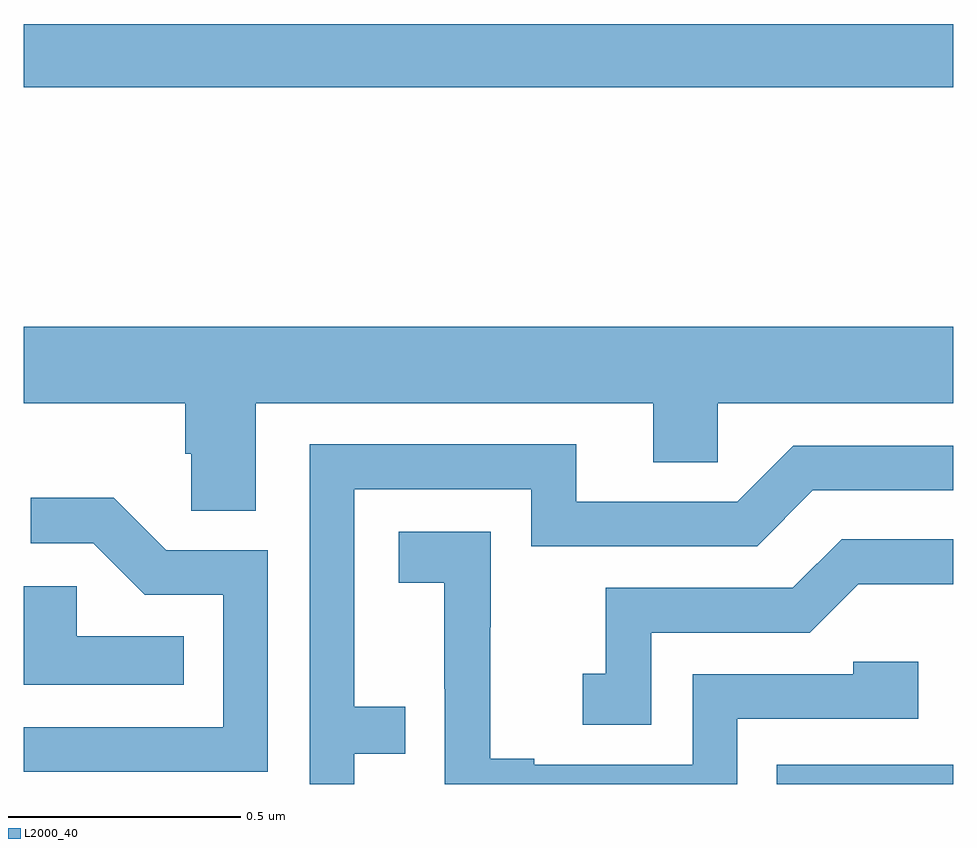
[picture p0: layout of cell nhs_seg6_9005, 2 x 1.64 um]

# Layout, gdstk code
import gdstk
lib = gdstk.Library(unit=1e-6, precision=1e-09)
def R(c, l, rs):  # rectangles x0, y0, x1, y1
    for r in rs: c.add(gdstk.rectangle(r[:2], r[2:], *l))
def P(c, l, *ps):  # polygons
    for p in ps: c.add(gdstk.Polygon(p, *l))
L2000_40 = (2000, 40)

nhs_seg6_9005 = lib.new_cell('nhs_seg6_9005')
R(nhs_seg6_9005, L2000_40, [(229.621,962.5,230,962.541), (228,964,230,964.136)])
P(nhs_seg6_9005, L2000_40, [(228.499,963.32),(229.355,963.32),(229.355,963.193),(229.494,963.193),(229.494,963.32),(230,963.32),(230,963.484),(228,963.484),(228,963.32),(228.347,963.32),(228.347,963.211),(228.36,963.211),(228.36,963.088),(228.499,963.088)],
  [(228.711,962.565),(228.821,962.565),(228.821,962.666),(228.711,962.666),(228.711,963.135),(229.092,963.135),(229.092,963.012),(229.578,963.012),(229.698,963.132),(230,963.132),(230,963.228),(229.656,963.228),(229.536,963.108),(229.189,963.108),(229.189,963.231),(228.615,963.231),(228.615,962.5),(228.711,962.5)],
  [(228.525,963.003),(228.306,963.003),(228.193,963.116),(228.015,963.116),(228.015,963.018),(228.149,963.018),(228.26,962.907),(228.429,962.907),(228.429,962.622),(228,962.622),(228,962.526),(228.525,962.526)],
  [(229.536,962.64),(229.925,962.64),(229.925,962.763),(229.785,962.763),(229.785,962.736),(229.44,962.736),(229.44,962.541),(229.099,962.541),(229.099,962.554),(229.004,962.554),(229.004,962.837),(229.005,962.837),(229.005,963.043),(228.807,963.043),(228.807,962.933),(228.905,962.933),(228.905,962.705),(228.906,962.705),(228.906,962.5),(229.536,962.5)],
  [(229.35,962.826),(229.692,962.826),(229.796,962.93),(230,962.93),(230,963.027),(229.76,963.027),(229.655,962.922),(229.252,962.922),(229.252,962.737),(229.203,962.737),(229.203,962.628),(229.35,962.628)],
  [(228.344,962.818),(228.114,962.818),(228.114,962.926),(228,962.926),(228,962.714),(228.344,962.714)])

lib.write_gds('nhs_seg6_9005.gds')
